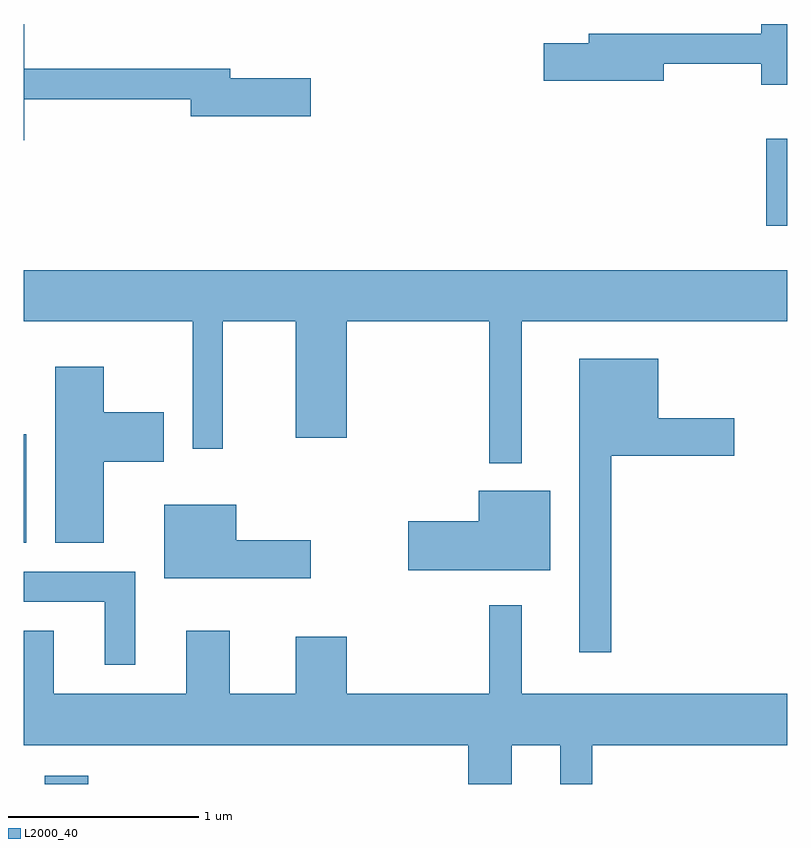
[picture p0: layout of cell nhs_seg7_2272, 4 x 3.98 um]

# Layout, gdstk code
import gdstk
lib = gdstk.Library(unit=1e-6, precision=1e-09)
def R(c, l, rs):  # rectangles x0, y0, x1, y1
    for r in rs: c.add(gdstk.rectangle(r[:2], r[2:], *l))
def P(c, l, *ps):  # polygons
    for p in ps: c.add(gdstk.Polygon(p, *l))
L2000_40 = (2000, 40)

nhs_seg7_2272 = lib.new_cell('nhs_seg7_2272')
R(nhs_seg7_2272, L2000_40, [(253.721,1796.252,253.949,1796.294), (253.611,1797.516,253.624,1798.084), (257.501,1799.176,257.611,1799.634)])
P(nhs_seg7_2272, L2000_40, [(253.614,1799.841),(254.486,1799.841),(254.486,1799.751),(255.114,1799.751),(255.114,1799.949),(254.694,1799.949),(254.694,1799.999),(253.614,1799.999),(253.614,1800.234),(253.611,1800.234),(253.611,1799.626),(253.614,1799.626)],
  [(257.611,1800.234),(257.476,1800.234),(257.476,1800.184),(256.571,1800.184),(256.571,1800.134),(256.336,1800.134),(256.336,1799.936),(256.964,1799.936),(256.964,1800.026),(257.476,1800.026),(257.476,1799.916),(257.611,1799.916)],
  [(253.611,1798.676),(254.496,1798.676),(254.496,1798.008),(254.654,1798.008),(254.654,1798.676),(255.036,1798.676),(255.036,1798.066),(255.304,1798.066),(255.304,1798.676),(256.051,1798.676),(256.051,1797.933),(256.219,1797.933),(256.219,1798.676),(257.611,1798.676),(257.611,1798.944),(253.611,1798.944)],
  [(256.689,1797.971),(257.334,1797.971),(257.334,1798.169),(256.934,1798.169),(256.934,1798.479),(256.521,1798.479),(256.521,1796.943),(256.689,1796.943)],
  [(254.029,1797.941),(254.344,1797.941),(254.344,1798.199),(254.029,1798.199),(254.029,1798.439),(253.776,1798.439),(253.776,1797.516),(254.029,1797.516)],
  [(256.369,1797.789),(255.996,1797.789),(255.996,1797.629),(255.626,1797.629),(255.626,1797.371),(256.369,1797.371)],
  [(255.114,1797.529),(254.724,1797.529),(254.724,1797.714),(254.346,1797.714),(254.346,1797.331),(255.114,1797.331)],
  [(254.194,1797.364),(253.611,1797.364),(253.611,1797.206),(254.036,1797.206),(254.036,1796.878),(254.194,1796.878)],
  [(256.169,1796.456),(256.421,1796.456),(256.421,1796.252),(256.589,1796.252),(256.589,1796.456),(257.611,1796.456),(257.611,1796.724),(256.219,1796.724),(256.219,1797.188),(256.051,1797.188),(256.051,1796.724),(255.304,1796.724),(255.304,1797.024),(255.036,1797.024),(255.036,1796.724),(254.689,1796.724),(254.689,1797.054),(254.461,1797.054),(254.461,1796.724),(253.769,1796.724),(253.769,1797.054),(253.611,1797.054),(253.611,1796.456),(255.941,1796.456),(255.941,1796.252),(256.169,1796.252)])

lib.write_gds('nhs_seg7_2272.gds')
